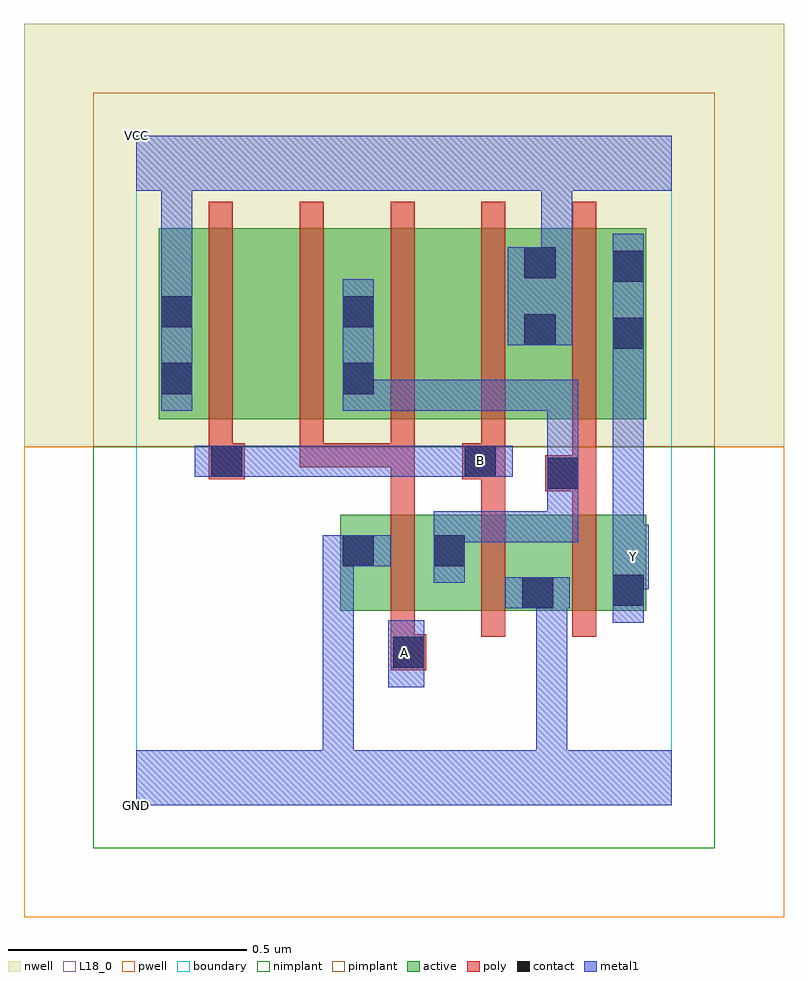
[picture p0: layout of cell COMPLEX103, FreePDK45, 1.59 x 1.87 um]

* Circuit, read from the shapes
.subckt COMPLEX103 A B GND VCC Y
M1 n1 A GND VSUBS nfet w=0.2u l=0.05u
M2 GND B n1 VSUBS nfet w=0.2u l=0.05u
M3 Y n1 GND VSUBS nfet w=0.2u l=0.05u
M4 n2 B VCC n3 pfet w=0.4u l=0.05u
M5 n1 A n2 n3 pfet w=0.4u l=0.05u
M6 n4 A n1 n3 pfet w=0.4u l=0.05u
M7 VCC B n4 n3 pfet w=0.4u l=0.05u
M8 Y n1 VCC n3 pfet w=0.4u l=0.05u
.ends

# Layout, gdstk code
import gdstk
lib = gdstk.Library(unit=1e-6, precision=1e-09)
def R(c, l, rs):  # rectangles x0, y0, x1, y1
    for r in rs: c.add(gdstk.rectangle(r[:2], r[2:], *l))
def A(c, l, x, y, w, h, nx, ny, dx, dy):  # array of equal rectangles
    R(c, l, [(x+i*dx, y+j*dy, x+i*dx+w, y+j*dy+h) for i in range(nx) for j in range(ny)])
active = (1, 0)
pwell = (2, 0)
nwell = (3, 0)
nimplant = (4, 0)
pimplant = (5, 0)
poly = (9, 0)
contact = (10, 0)
metal1 = (11, 0)
L18_0 = (18, 0)
boundary = (235, 0)

complex103 = lib.new_cell('COMPLEX103')
R(complex103, active, [(0.427,0.407,0.502,0.607), (0.427,0.407,0.692,0.607), (0.617,0.407,0.877,0.607), (0.802,0.407,1.067,0.607), (0.802,0.407,0.877,0.597), (0.992,0.407,1.067,0.607), (0.617,0.495,0.692,0.607), (0.047,0.807,0.272,1.207), (0.047,0.807,0.122,1.205), (0.272,0.807,0.502,1.207), (0.427,0.807,0.652,1.207), (0.652,0.807,0.882,1.207), (0.807,0.807,1.067,1.207), (0.992,0.807,1.067,1.2), (0.427,0.855,0.502,1.2), (0.807,0.907,0.882,1.205)])
R(complex103, pwell, [(-0.235,-0.235,1.355,0.75)])
R(complex103, nwell, [(-0.235,0.75,1.355,1.635)])
R(complex103, nimplant, [(-0.09,-0.09,1.21,0.75)])
R(complex103, pimplant, [(-0.09,0.75,1.21,1.49)])
A(complex103, poly, 0.532, 0.352, 0.05, 0.31, 3, 1, 0.19, 0)
A(complex103, poly, 0.152, 0.707, 0.05, 0.095, 4, 1, 0.19, 0)
A(complex103, poly, 0.152, 0.752, 0.05, 0.51, 5, 1, 0.19, 0)
R(complex103, poly, [(0.532,0.282,0.607,0.357), (0.532,0.307,0.582,0.402), (0.532,0.612,0.582,0.757), (0.722,0.612,0.772,0.732), (0.912,0.612,0.962,0.707), (0.855,0.657,0.962,0.732), (0.152,0.682,0.227,0.757), (0.682,0.682,0.772,0.757), (0.912,0.682,0.962,0.802), (0.342,0.707,0.582,0.757), (0.342,0.707,0.392,0.757), (0.342,0.707,0.392,0.757), (0.342,0.707,0.392,0.757), (0.532,0.707,0.582,0.757)])
R(complex103, contact, [(0.537,0.287,0.602,0.352), (0.807,0.412,0.872,0.477), (0.997,0.417,1.062,0.482), (0.432,0.5,0.497,0.565), (0.622,0.5,0.687,0.565), (0.86,0.662,0.925,0.727), (0.157,0.687,0.222,0.752), (0.687,0.687,0.752,0.752), (0.052,0.86,0.117,0.925), (0.432,0.86,0.497,0.925), (0.997,0.955,1.062,1.02), (0.812,0.962,0.877,1.027), (0.052,1,0.117,1.065), (0.432,1,0.497,1.065), (0.997,1.095,1.062,1.16), (0.812,1.102,0.877,1.167)])
R(complex103, metal1, [(0,0,1.12,0.115), (0.39,0.05,0.455,0.565), (0.837,0.05,0.902,0.477), (0.527,0.247,0.602,0.387), (0.997,0.382,1.062,0.517), (0.772,0.412,0.907,0.477), (0.837,0.412,0.902,0.477), (0.837,0.412,0.902,0.477), (0.837,0.412,0.902,0.477), (0.837,0.412,0.902,0.477), (0.837,0.412,0.902,0.477), (0.837,0.412,0.902,0.477), (0.997,0.452,1.062,0.517), (0.997,0.452,1.072,0.587), (0.622,0.465,0.687,0.6), (0.39,0.5,0.455,0.565), (0.39,0.5,0.455,0.565), (0.39,0.5,0.455,0.565), (0.39,0.5,0.455,0.565), (0.39,0.5,0.455,0.565), (0.39,0.5,0.455,0.565), (0.39,0.5,0.532,0.565), (0.997,0.522,1.062,0.985), (0.622,0.535,0.687,0.6), (0.622,0.535,0.687,0.615), (0.622,0.55,0.925,0.615), (0.86,0.55,0.925,0.615), (0.86,0.55,0.925,0.762), (0.86,0.627,0.925,0.762), (0.122,0.687,0.257,0.752), (0.192,0.687,0.257,0.752), (0.192,0.687,0.257,0.752), (0.192,0.687,0.395,0.752), (0.33,0.687,0.395,0.752), (0.33,0.687,0.395,0.752), (0.33,0.687,0.395,0.752), (0.33,0.687,0.532,0.752), (0.467,0.687,0.532,0.752), (0.467,0.687,0.687,0.752), (0.622,0.687,0.687,0.752), (0.622,0.687,0.717,0.752), (0.652,0.687,0.787,0.752), (0.86,0.697,0.925,0.762), (0.86,0.697,0.925,0.762), (0.86,0.697,0.925,0.89), (0.052,0.825,0.117,1.1), (0.432,0.825,0.497,1.1), (0.432,0.825,0.55,0.89), (0.485,0.825,0.55,0.89), (0.485,0.825,0.7,0.89), (0.635,0.825,0.7,0.89), (0.635,0.825,0.7,0.89), (0.635,0.825,0.7,0.89), (0.635,0.825,0.925,0.89), (0.86,0.825,0.925,0.89), (0.997,0.92,1.062,1.195), (0.777,0.962,0.912,1.167), (0.052,1.035,0.117,1.35), (0.847,1.102,0.912,1.35), (0,1.285,1.12,1.4)])
R(complex103, L18_0, [(0,0,1.12,0.115), (0.39,0.05,0.455,0.565), (0.837,0.05,0.902,0.477), (0.527,0.247,0.602,0.387), (0.527,0.287,0.592,0.352), (0.997,0.382,1.062,0.517), (0.772,0.412,0.907,0.477), (0.837,0.412,0.902,0.477), (0.837,0.412,0.902,0.477), (0.837,0.412,0.902,0.477), (0.837,0.412,0.902,0.477), (0.837,0.412,0.902,0.477), (0.837,0.412,0.902,0.477), (0.997,0.452,1.062,0.517), (0.997,0.452,1.072,0.587), (1.007,0.487,1.072,0.552), (0.39,0.5,0.455,0.565), (0.39,0.5,0.455,0.565), (0.39,0.5,0.455,0.565), (0.39,0.5,0.455,0.565), (0.39,0.5,0.455,0.565), (0.39,0.5,0.455,0.565), (0.39,0.5,0.532,0.565), (0.997,0.522,1.062,0.985), (0.122,0.687,0.257,0.752), (0.192,0.687,0.257,0.752), (0.192,0.687,0.257,0.752), (0.192,0.687,0.395,0.752), (0.33,0.687,0.395,0.752), (0.33,0.687,0.395,0.752), (0.33,0.687,0.395,0.752), (0.33,0.687,0.532,0.752), (0.467,0.687,0.532,0.752), (0.467,0.687,0.687,0.752), (0.622,0.687,0.687,0.752), (0.622,0.687,0.717,0.752), (0.652,0.687,0.787,0.752), (0.687,0.687,0.752,0.752), (0.052,0.825,0.117,1.1), (0.997,0.92,1.062,1.195), (0.777,0.962,0.912,1.167), (0.052,1.035,0.117,1.35), (0.847,1.102,0.912,1.35), (0,1.285,1.12,1.4)])
R(complex103, boundary, [(0,0,1.12,1.4)])
complex103.add(gdstk.Label('A', (0.56,0.32), layer=11, texttype=0))
complex103.add(gdstk.Label('B', (0.72,0.72), layer=11, texttype=0))
complex103.add(gdstk.Label('Y', (1.04,0.52), layer=11, texttype=0))
complex103.add(gdstk.Label('VCC', (0,1.4), layer=11, texttype=0))
complex103.add(gdstk.Label('GND', (0,0), layer=11, texttype=0))

lib.write_gds('COMPLEX103.gds')
